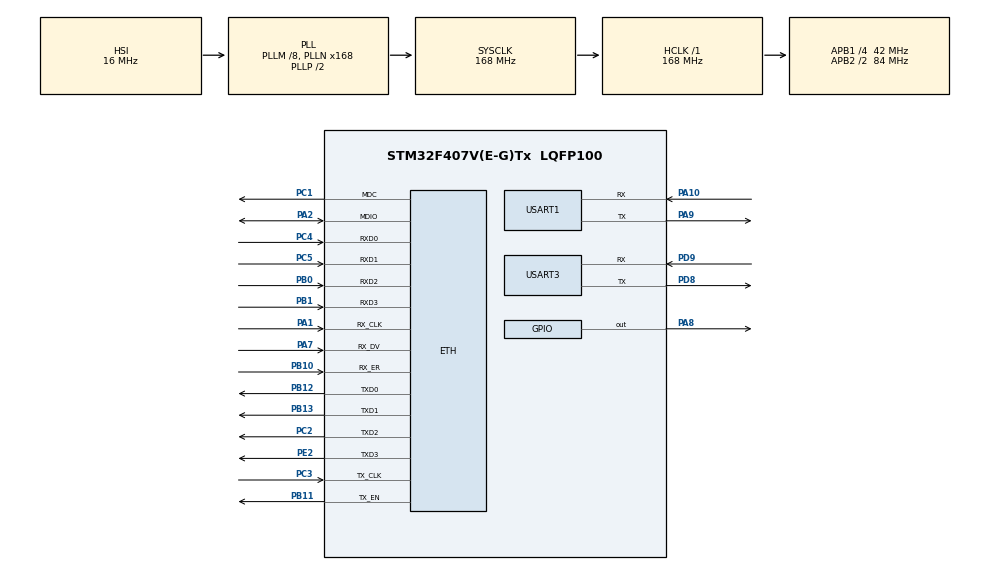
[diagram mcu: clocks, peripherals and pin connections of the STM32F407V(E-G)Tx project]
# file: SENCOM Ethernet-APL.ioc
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ETH.MACAddr=00\:80\:01\:00\:00\:00
ETH.MediaInterface=HAL_ETH_MII_MODE
LWIP.ARP_QUEUEING=1
LWIP.CHECKSUM_BY_HARDWARE=0
LWIP.ETHARP_SUPPORT_STATIC_ENTRIES=1
LWIP.ETHARP_SUPPORT_VLAN=1
LWIP.LWIP_DHCP=0
LWIP.LWIP_RAW=1
LWIP.LWIP_TCP=1
LWIP.LWIP_UDP=1
LWIP.Version=v2.1.2_Cube
Mcu.Family=STM32F4
Mcu.Name=STM32F407V(E-G)Tx
Mcu.Package=LQFP100
NVIC.PriorityGroup=NVIC_PRIORITYGROUP_4
PA1.GPIO_PuPd=GPIO_NOPULL
PA1.Mode=MII Full Duplex Only
PA1.Signal=ETH_RX_CLK
PA10.Mode=Asynchronous
PA10.Signal=USART1_RX
PA13.Mode=Serial_Wire
PA13.Signal=SYS_JTMS-SWDIO
PA14.Mode=Serial_Wire
PA14.Signal=SYS_JTCK-SWCLK
PA2.Mode=MII Full Duplex Only
PA2.Signal=ETH_MDIO
PA7.GPIO_PuPd=GPIO_NOPULL
PA7.Mode=MII Full Duplex Only
PA7.Signal=ETH_RX_DV
PA8.Signal=GPIO_Output
PA9.Mode=Asynchronous
PA9.Signal=USART1_TX
PB0.Mode=MII Full Duplex Only
PB0.Signal=ETH_RXD2
PB1.Mode=MII Full Duplex Only
PB1.Signal=ETH_RXD3
PB10.GPIO_PuPd=GPIO_NOPULL
PB10.Mode=Activate Rx Err signal
PB10.Signal=ETH_RX_ER
PB11.Mode=MII Full Duplex Only
PB11.Signal=ETH_TX_EN
PB12.Mode=MII Full Duplex Only
PB12.Signal=ETH_TXD0
PB13.Mode=MII Full Duplex Only
PB13.Signal=ETH_TXD1
PC1.Mode=MII Full Duplex Only
PC1.Signal=ETH_MDC
PC2.Mode=MII Full Duplex Only
PC2.Signal=ETH_TXD2
PC3.Mode=MII Full Duplex Only
PC3.Signal=ETH_TX_CLK
PC4.Mode=MII Full Duplex Only
PC4.Signal=ETH_RXD0
PC5.Mode=MII Full Duplex Only
PC5.Signal=ETH_RXD1
PD8.Mode=Asynchronous
PD8.Signal=USART3_TX
PD9.Mode=Asynchronous
PD9.Signal=USART3_RX
PE2.Mode=MII Full Duplex Only
PE2.Signal=ETH_TXD3
ProjectManager.HeapSize=0x200
ProjectManager.StackSize=0x400
ProjectManager.TargetToolchain=STM32CubeIDE
RCC.48MHZClocksFreq_Value=84000000
RCC.AHBFreq_Value=168000000
RCC.APB1CLKDivider=RCC_HCLK_DIV4
RCC.APB1Freq_Value=42000000
RCC.APB1TimFreq_Value=84000000
RCC.APB2CLKDivider=RCC_HCLK_DIV2
RCC.APB2Freq_Value=84000000
RCC.APB2TimFreq_Value=168000000
RCC.CortexFreq_Value=168000000
RCC.HCLKFreq_Value=168000000
RCC.HSE_VALUE=25000000
RCC.HSI_VALUE=16000000
RCC.LSE_VALUE=32768
RCC.PLLM=8
RCC.PLLN=168
RCC.SYSCLKFreq_VALUE=168000000
RCC.SYSCLKSource=RCC_SYSCLKSOURCE_PLLCLK
RCC.VCOOutputFreq_Value=336000000
USART1.VirtualMode=VM_ASYNC
USART3.VirtualMode=VM_ASYNC
VP_LWIP_VS_Enabled.Mode=Enabled
board=custom

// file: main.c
/* USER CODE BEGIN Header */
/**
  ******************************************************************************
  * @file           : main.c
  * @brief          : Main program body
  ******************************************************************************
  * @attention
  *
  * Copyright (c) 2025 STMicroelectronics.
  * All rights reserved.
  *
  * This software is licensed under terms that can be found in the LICENSE file
  * in the root directory of this software component.
  * If no LICENSE file comes with this software, it is provided AS-IS.
  *
  ******************************************************************************
  */
/* USER CODE END Header */
#include "main.h"
#include "lwip.h"
#include "modbus_client.h"
#include "retarget.h"
#include <string.h>
#include <stdio.h>

/* USER CODE BEGIN PD */
#define SERVER_PORT 8888
/* USER CODE END PD */

UART_HandleTypeDef huart1;
UART_HandleTypeDef huart3;

static uint8_t connected = 0;
static uint8_t tcp_callback = 0;

static struct tcp_pcb *client_pcb;
static ip_addr_t server_ip;

void SystemClock_Config(void);
static void MX_GPIO_Init(void);
static void MX_USART1_UART_Init(void);
static void MX_USART3_UART_Init(void);

int main(void)
{

  /* MCU Configuration--------------------------------------------------------*/

  /* Reset of all peripherals, Initializes the Flash interface and the Systick. */
  HAL_Init();

  /* Configure the system clock */
  SystemClock_Config();

  /* Initialize all configured peripherals */
  MX_GPIO_Init();
  MX_USART1_UART_Init();
  MX_USART3_UART_Init();
  MX_LWIP_Init();

  /* Startup message*/
  printf("STM32 Modbus RTU over TCP client starting...\r\n");
  //char* m_ptr = "STM32 Modbus RTU over TCP client starting...\r\n";
  //uint16_t len = strlen(m_ptr);
  //HAL_UART_Transmit(&huart3, m_ptr, len, HAL_MAX_DELAY);

  /* Main Loop ---------------------------------------------------------------*/
  /* USER CODE BEGIN WHILE */
  while(1)
  {
	  // Check if the network interface is up and connected once
	  if (!connected && netif_is_up(&gnetif))
	  {
		  tcp_client_connect(); // connect only once
		  connected = 1;
	  }

	  if (tcp_callback)
	  {
		  printf("Sending function code request to SA11...");
		  Modbus_send(&huart1);
		  tcp_callback = 0;

		  // Send RTU response back to TCP server
		  tcp_write(client_pcb, uart_rx_buffer, UART_BUFFER_LEN, TCP_WRITE_FLAG_COPY);
		  tcp_output(client_pcb);

		  printf("[RS485->TCP] Sending response back to host...\r\n");

	  }

	  /* Handle LwIP timeouts */
	  sys_check_timeouts(); // Must call this function to let lwIP run
    /* USER CODE END WHILE */
  }
}

void SystemClock_Config(void)
{
  RCC_OscInitTypeDef RCC_OscInitStruct = {0};
  RCC_ClkInitTypeDef RCC_ClkInitStruct = {0};

  /** Configure the main internal regulator output voltage
  */
  __HAL_RCC_PWR_CLK_ENABLE();
  __HAL_PWR_VOLTAGESCALING_CONFIG(PWR_REGULATOR_VOLTAGE_SCALE1);

  /** Initializes the RCC Oscillators according to the specified parameters
  * in the RCC_OscInitTypeDef structure.
  */
  RCC_OscInitStruct.OscillatorType = RCC_OSCILLATORTYPE_HSI;
  RCC_OscInitStruct.HSIState = RCC_HSI_ON;
  RCC_OscInitStruct.HSICalibrationValue = RCC_HSICALIBRATION_DEFAULT;
  RCC_OscInitStruct.PLL.PLLState = RCC_PLL_ON;
  RCC_OscInitStruct.PLL.PLLSource = RCC_PLLSOURCE_HSI;
  RCC_OscInitStruct.PLL.PLLM = 8;
  RCC_OscInitStruct.PLL.PLLN = 168;
  RCC_OscInitStruct.PLL.PLLP = RCC_PLLP_DIV2;
  RCC_OscInitStruct.PLL.PLLQ = 4;
  if (HAL_RCC_OscConfig(&RCC_OscInitStruct) != HAL_OK)
  {
    Error_Handler();
  }

  /** Initializes the CPU, AHB and APB buses clocks
  */
  RCC_ClkInitStruct.ClockType = RCC_CLOCKTYPE_HCLK|RCC_CLOCKTYPE_SYSCLK
                              |RCC_CLOCKTYPE_PCLK1|RCC_CLOCKTYPE_PCLK2;
  RCC_ClkInitStruct.SYSCLKSource = RCC_SYSCLKSOURCE_PLLCLK;
  RCC_ClkInitStruct.AHBCLKDivider = RCC_SYSCLK_DIV1;
  RCC_ClkInitStruct.APB1CLKDivider = RCC_HCLK_DIV4;
  RCC_ClkInitStruct.APB2CLKDivider = RCC_HCLK_DIV2;

  if (HAL_RCC_ClockConfig(&RCC_ClkInitStruct, FLASH_LATENCY_5) != HAL_OK)
  {
    Error_Handler();
  }
}

static void MX_USART1_UART_Init(void)
{

  huart1.Instance = USART1;
  huart1.Init.BaudRate = 115200;
  huart1.Init.WordLength = UART_WORDLENGTH_8B;
  huart1.Init.StopBits = UART_STOPBITS_1;
  huart1.Init.Parity = UART_PARITY_NONE;
  huart1.Init.Mode = UART_MODE_TX_RX;
  huart1.Init.HwFlowCtl = UART_HWCONTROL_NONE;
  huart1.Init.OverSampling = UART_OVERSAMPLING_16;
  if (HAL_UART_Init(&huart1) != HAL_OK)
  {
    Error_Handler();
  }

}

static void MX_USART3_UART_Init(void)
{

  huart3.Instance = USART3;
  huart3.Init.BaudRate = 115200;
  huart3.Init.WordLength = UART_WORDLENGTH_8B;
  huart3.Init.StopBits = UART_STOPBITS_1;
  huart3.Init.Parity = UART_PARITY_NONE;
  huart3.Init.Mode = UART_MODE_TX_RX;
  huart3.Init.HwFlowCtl = UART_HWCONTROL_NONE;
  huart3.Init.OverSampling = UART_OVERSAMPLING_16;
  if (HAL_UART_Init(&huart3) != HAL_OK)
  {
    Error_Handler();
  }

}

static void MX_GPIO_Init(void)
{
  GPIO_InitTypeDef GPIO_InitStruct = {0};

  /* GPIO Ports Clock Enable */
  __HAL_RCC_GPIOE_CLK_ENABLE();
  __HAL_RCC_GPIOC_CLK_ENABLE();
  __HAL_RCC_GPIOA_CLK_ENABLE();
  __HAL_RCC_GPIOB_CLK_ENABLE();
  __HAL_RCC_GPIOD_CLK_ENABLE();

  /*Configure GPIO pin Output Level */
  HAL_GPIO_WritePin(GPIOA, GPIO_PIN_8, GPIO_PIN_RESET);

  /*Configure GPIO pin : PA8 */
  GPIO_InitStruct.Pin = GPIO_PIN_8;
  GPIO_InitStruct.Mode = GPIO_MODE_OUTPUT_PP;
  GPIO_InitStruct.Pull = GPIO_NOPULL;
  GPIO_InitStruct.Speed = GPIO_SPEED_FREQ_LOW;
  HAL_GPIO_Init(GPIOA, &GPIO_InitStruct);

}

/* USER CODE BEGIN 4 */

/* TCP Data Received Callback */
err_t tcp_recv_callback(void *arg, struct tcp_pcb *tpcb, struct pbuf *p, err_t err)
{
	if (!p)
	{
		tcp_close(tpcb);
		return ERR_OK;
	}

	uint16_t len = p->len;
	if (len > UART_BUFFER_LEN) len = UART_BUFFER_LEN;

	memcpy(uart_tx_buffer, p->payload, len);
	pbuf_free(p); // Always free received pbuf in RAW API

	uint8_t function_code = uart_tx_buffer[1];
	printf("\r\n[TPC->RS485] Received Function code: 0x%02x, Length: %d\r\n", function_code, len);

	tcp_callback = 1;

	return ERR_OK;
}

/* TCP Connect Callback */
err_t tcp_connected_callback(void *arg, struct tcp_pcb *tpcb, err_t err)
{
	if (err != ERR_OK)
	{
		printf("Connection failed with error: %d\r\n", err);
		return err;
	}

	printf("Connected to TCP server.\r\n");

	// Set TCP receive callback
	tcp_recv(tpcb, tcp_recv_callback);
	return ERR_OK;
}

/* public API to connect Client to Server */
void tcp_client_connect(void)
{
	client_pcb = tcp_new();

	if (!client_pcb)
	{
		printf("Failed to create TCP PCB\r\n");
		return;
	}

	IP_ADDR4(&server_ip, 196,168,1,2); // replace with local server IP, for testing use loopback IP
	printf("Connecting to %s:%d...\r\n", ipaddr_ntoa(&server_ip), SERVER_PORT);

	err_t err = tcp_connect(client_pcb, &server_ip, SERVER_PORT, tcp_connected_callback);
	if (err != ERR_OK)
	{
		printf("tcp_connect() failed with code: %d\r\n", err);
	}
}

/* USER CODE END 4 */

void Error_Handler(void)
{
  __disable_irq();
  while (1)
  {
  }
}
